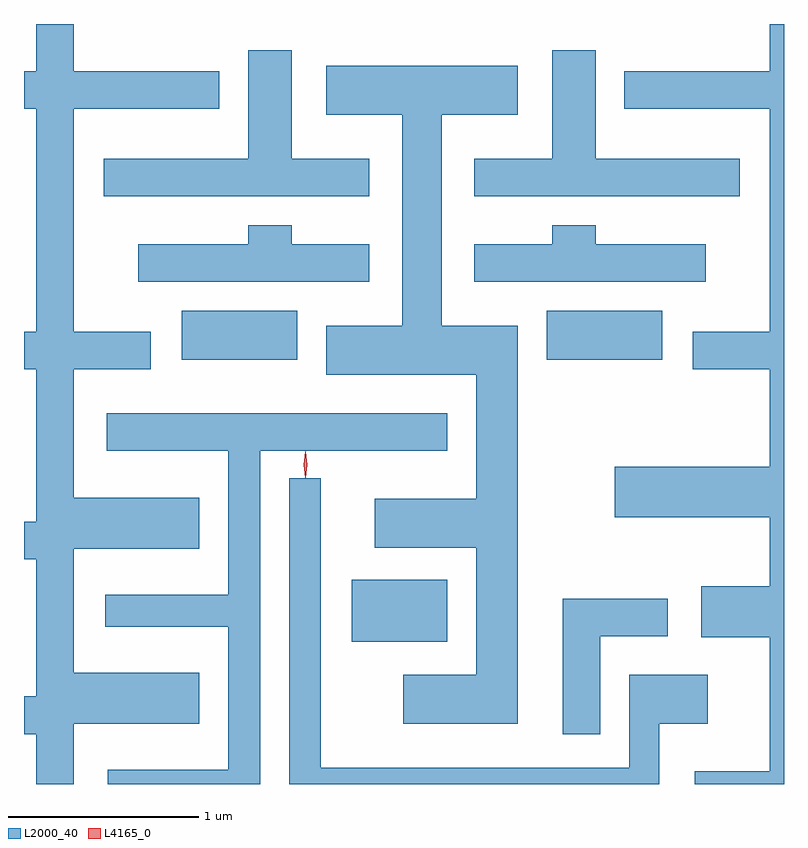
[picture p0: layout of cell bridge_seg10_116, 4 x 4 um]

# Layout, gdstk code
import gdstk
lib = gdstk.Library(unit=1e-6, precision=1e-09)
def R(c, l, rs):  # rectangles x0, y0, x1, y1
    for r in rs: c.add(gdstk.rectangle(r[:2], r[2:], *l))
def P(c, l, *ps):  # polygons
    for p in ps: c.add(gdstk.Polygon(p, *l))
L2000_40 = (2000, 40)
L4165_0 = (4165, 0)

bridge_seg10_116 = lib.new_cell('bridge_seg10_116')
R(bridge_seg10_116, L2000_40, [(1665.971,2141.311,1666.474,2141.639), (1665.076,2142.796,1665.684,2143.054), (1666.996,2142.796,1667.604,2143.054)])
P(bridge_seg10_116, L2000_40, [(1664.509,2140.881),(1665.169,2140.881),(1665.169,2141.149),(1664.509,2141.149),(1664.509,2141.801),(1665.169,2141.801),(1665.169,2142.069),(1664.509,2142.069),(1664.509,2142.746),(1664.914,2142.746),(1664.914,2142.944),(1664.509,2142.944),(1664.509,2144.116),(1665.274,2144.116),(1665.274,2144.314),(1664.509,2144.314),(1664.509,2144.563),(1664.311,2144.563),(1664.311,2144.314),(1664.246,2144.314),(1664.246,2144.116),(1664.311,2144.116),(1664.311,2142.944),(1664.246,2142.944),(1664.246,2142.746),(1664.311,2142.746),(1664.311,2141.944),(1664.246,2141.944),(1664.246,2141.746),(1664.311,2141.746),(1664.311,2141.024),(1664.246,2141.024),(1664.246,2140.826),(1664.311,2140.826),(1664.311,2140.563),(1664.509,2140.563)],
  [(1667.406,2144.116),(1668.171,2144.116),(1668.171,2142.944),(1667.766,2142.944),(1667.766,2142.746),(1668.171,2142.746),(1668.171,2142.234),(1667.356,2142.234),(1667.356,2141.966),(1668.171,2141.966),(1668.171,2141.604),(1667.811,2141.604),(1667.811,2141.336),(1668.171,2141.336),(1668.171,2140.629),(1667.776,2140.629),(1667.776,2140.563),(1668.246,2140.563),(1668.246,2144.563),(1668.171,2144.563),(1668.171,2144.314),(1667.406,2144.314)],
  [(1668.014,2143.854),(1667.254,2143.854),(1667.254,2144.424),(1667.026,2144.424),(1667.026,2143.854),(1666.616,2143.854),(1666.616,2143.656),(1668.014,2143.656)],
  [(1666.064,2143.854),(1665.654,2143.854),(1665.654,2144.424),(1665.426,2144.424),(1665.426,2143.854),(1664.666,2143.854),(1664.666,2143.656),(1666.064,2143.656)],
  [(1666.844,2142.974),(1666.444,2142.974),(1666.444,2144.086),(1666.844,2144.086),(1666.844,2144.344),(1665.836,2144.344),(1665.836,2144.086),(1666.236,2144.086),(1666.236,2142.974),(1665.836,2142.974),(1665.836,2142.716),(1666.626,2142.716),(1666.626,2142.064),(1666.091,2142.064),(1666.091,2141.806),(1666.626,2141.806),(1666.626,2141.139),(1666.241,2141.139),(1666.241,2140.881),(1666.844,2140.881)],
  [(1667.834,2143.404),(1667.254,2143.404),(1667.254,2143.504),(1667.026,2143.504),(1667.026,2143.404),(1666.616,2143.404),(1666.616,2143.206),(1667.834,2143.206)],
  [(1666.064,2143.404),(1665.654,2143.404),(1665.654,2143.504),(1665.426,2143.504),(1665.426,2143.404),(1664.846,2143.404),(1664.846,2143.206),(1666.064,2143.206)],
  [(1665.489,2142.316),(1666.474,2142.316),(1666.474,2142.514),(1664.681,2142.514),(1664.681,2142.316),(1665.321,2142.316),(1665.321,2141.559),(1664.673,2141.559),(1664.673,2141.391),(1665.321,2141.391),(1665.321,2140.639),(1664.688,2140.639),(1664.688,2140.563),(1665.489,2140.563)],
  [(1667.589,2140.881),(1667.844,2140.881),(1667.844,2141.139),(1667.431,2141.139),(1667.431,2140.649),(1665.809,2140.649),(1665.809,2142.173),(1665.641,2142.173),(1665.641,2140.563),(1667.589,2140.563)],
  [(1667.279,2141.341),(1667.634,2141.341),(1667.634,2141.539),(1667.081,2141.539),(1667.081,2140.826),(1667.279,2140.826)])
P(bridge_seg10_116, L4165_0, [(1665.727,2142.178),(1665.718,2142.244),(1665.727,2142.311),(1665.728,2142.311),(1665.728,2142.311),(1665.738,2142.244),(1665.728,2142.178),(1665.728,2142.178)],
  [(1665.728,2142.174),(1665.727,2142.175),(1665.718,2142.244),(1665.727,2142.313),(1665.728,2142.314),(1665.728,2142.313),(1665.738,2142.244),(1665.728,2142.175)])

lib.write_gds('bridge_seg10_116.gds')
